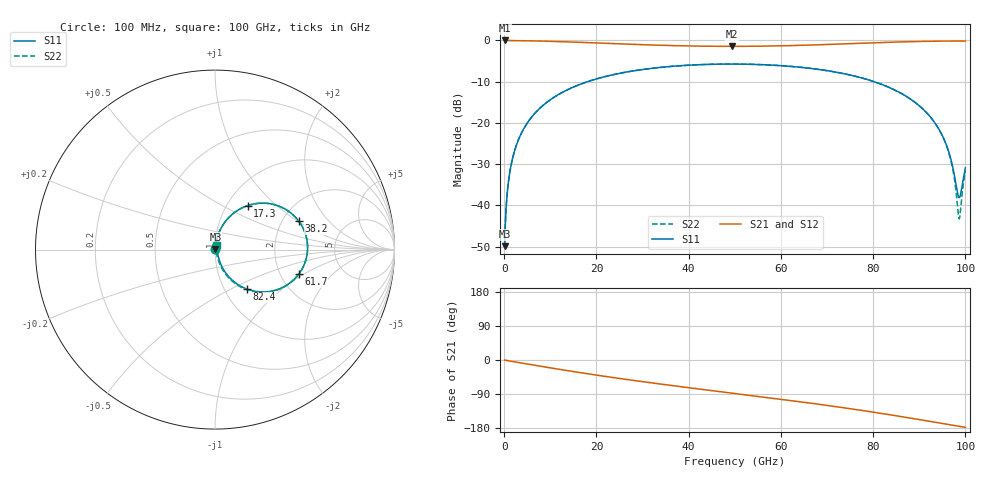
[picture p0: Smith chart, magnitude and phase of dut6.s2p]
! Touchstone file exported from HFSS 2026.1.0
!  File:  C:/ffzhzh/LocalFiles/Ansys_Project_Files/temp_train_RDL_6_1783497590_55944.aedt
!  Generated:  04:01:09 PM Jul  8, 2026
!  Design:  RDL
!  Project:  temp_train_RDL_6_1783497590_55944
! Variables:
!  h_bsmrdl = 2um
!  h_ox = 20um
!  h_rdl = 5um
!  h_sub = 80um
!  h_tmrdl = 3.63um
!  h_tsv = 80um
!  h_via = 3um
!  l_bsmrdl = 300um
!  l_sub = 981.59um
!  l_tmrdl = 581.59um
!  m_sub = 200um
!  pitch = 56.08um
!  r_tsv = 6um
!  s_tmrdl = 10um
!  w_bsmrdl = 18um
!  w_sub = 500um
!  w_tmrdl = 28.32um
!  x_tsv_center1 = 595.75um
!  x_tsv_center2 = 913.75um
!  x_tsv_center3 = 1523.66um
!  x_tsv_center4 = 1841.66um
!  x_tsv_center5 = 2451.57um
!  x_tsv_center6 = 2769.57um
# GHz S MA R 50.000000
! Terminal data exported
! Port[1] = TM_RDL1_1_T1
! Port[2] = TM_RDL1_1_T2
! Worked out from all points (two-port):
!   1000 points, 100 MHz to 100 GHz, reference 50 ohm
!   highest |S21| = -0.02 dB at 100 MHz (marker M1); lowest = -1.4 dB at 49.3 GHz (marker M2)
!   |S21| within 3 dB of the highest: start of sweep to end of sweep
!   lowest |S11| = -49.9 dB at 100 MHz (marker M3), VSWR 1.01, Z = 50.2 + j0.227 ohm
!   |S11| at or under -10 dB: start of sweep to 18.13 GHz; 80.16 GHz to end of sweep
!   |S22| runs from -49.9 to -5.7 dB; largest |S21 - S12| = 1.7e-14
!   S11 on the Smith chart (normalised r, x): 100 MHz: 1.00, +0.00; 17.3 GHz: 1.24, +0.67; 38.2 GHz: 2.44, +1.03; 61.7 GHz: 2.51, -0.90; 82.4 GHz: 1.27, -0.61; 100 GHz: 1.02, +0.05
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0.1  0.003192 45.0  0.9977 -0.2  0.9977 -0.2  0.003192 45.0
! Gamma 0 0 0 0
! Port Impedance 50 0 50 0
0.8  0.0167 78.3  0.997 -1.7  0.997 -1.7  0.0167 78.3
1.4  0.02861 80.8  0.9965 -3.0  0.9965 -3.0  0.02862 80.8
2.5  0.0505 80.7  0.9952 -5.3  0.9952 -5.3  0.0505 80.7
4  0.07997 78.5  0.9926 -8.5  0.9926 -8.5  0.07997 78.5
8.9  0.1711 69.3  0.9787 -18.5  0.9787 -18.5  0.1711 69.3
16.8  0.2977 54.4  0.9459 -33.9  0.9459 -33.9  0.2977 54.4
17.3  0.3048 53.5  0.9436 -34.9  0.9436 -34.9  0.3048 53.5
33.4  0.4674 26.3  0.8741 -62.7  0.8741 -62.7  0.4674 26.2
38.2  0.4928 18.8  0.8601 -70.3  0.8601 -70.3  0.4929 18.7
49.3  0.5162 2.2  0.8465 -87.2  0.8465 -87.2  0.5162 2.0
50.1  0.516 1.0  0.8466 -88.4  0.8466 -88.4  0.5161 0.9
61.7  0.4857 -16.4  0.8635 -106.2  0.8635 -106.2  0.4857 -16.7
66.7  0.4554 -24.3  0.879 -114.3  0.879 -114.3  0.4555 -24.6
82.4  0.2845 -50.8  0.9444 -142.1  0.9444 -142.1  0.2845 -51.6
83.4  0.2696 -52.6  0.9485 -144.0  0.9485 -144.0  0.2696 -53.5
89.9  0.1628 -63.6  0.9705 -156.9  0.9705 -156.9  0.1627 -65.3
94.3  0.08309 -68.4  0.9793 -166.0  0.9793 -166.0  0.08266 -71.9
96.8  0.03719 -62.7  0.9814 -171.2  0.9814 -171.2  0.03594 -70.9
98.6  0.01238 -0.0  0.9817 -174.9  0.9817 -174.9  0.00689 -4.9
99  0.01403 31.8  0.9816 -175.7  0.9816 -175.7  0.009383 47.2
100  0.02844 65.6  0.981 -177.8  0.981 -177.8  0.02631 76.6
